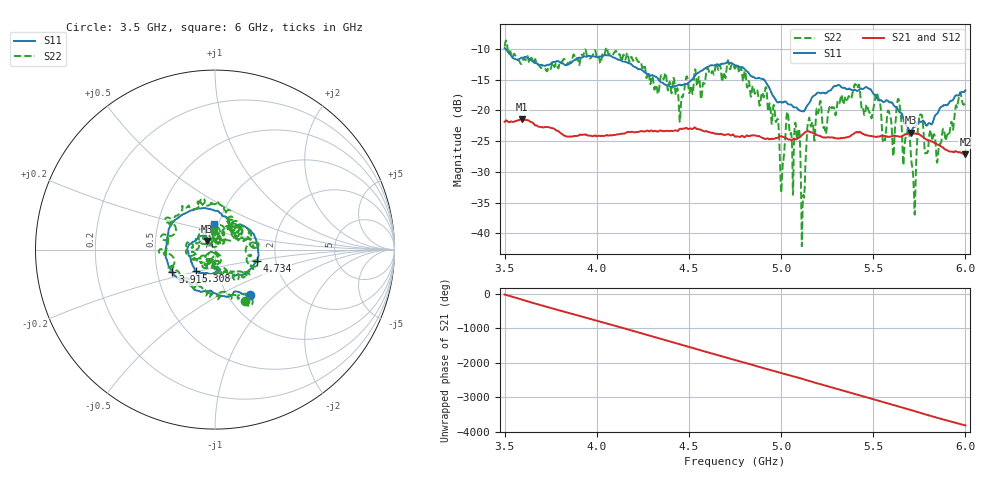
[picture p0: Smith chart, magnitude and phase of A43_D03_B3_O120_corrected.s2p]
! Created with skrf 1.9.0 (http://scikit-rf.org).
# Hz S RI R 50.0
!freq ReS11 ImS11 ReS21 ImS21 ReS12 ImS12 ReS22 ImS22
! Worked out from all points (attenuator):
!   1601 points, 3.5 GHz to 6 GHz, reference 50 ohm
!   highest |S21| = -21.48 dB at 3.592 GHz (marker M1); lowest = -27.1 dB at 6 GHz (marker M2)
!   lowest |S11| = -23.6 dB at 5.703 GHz (marker M3), VSWR 1.14, Z = 45.5 + j4.42 ohm
!   |S11| at or under -10 dB: 3.505 GHz to end of sweep
!   |S22| runs from -42.1 to -8.6 dB; largest |S21 - S12| = 0.00097
!   S11 on the Smith chart (normalised r, x): 3.5 GHz: 1.27, -0.71; 3.916 GHz: 0.60, -0.16; 4.734 GHz: 1.59, -0.22; 5.308 GHz: 0.79, -0.20; 6 GHz: 0.95, +0.28
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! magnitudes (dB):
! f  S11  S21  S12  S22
! 3.5 GHz  -9.9  -21.9  -21.8  -9.6
! 3.592 GHz  -11.4  -21.5  -21.5  -12.4
! 3.916 GHz  -11.5  -24.0  -24.0  -11.1
! 3.917 GHz  -11.4  -24.0  -24.0  -10.9
! 4.334 GHz  -15.0  -23.4  -23.4  -17.2
! 4.734 GHz  -12.3  -24.0  -24.0  -12.5
! 4.75 GHz  -12.7  -24.3  -24.2  -13.2
! 4.969 GHz  -18.2  -24.5  -24.5  -21.4
! 5.005 GHz  -18.6  -24.2  -24.2  -30.9
! 5.033 GHz  -18.8  -24.7  -24.6  -20.3
! 5.088 GHz  -19.7  -24.6  -24.6  -24.6
! 5.119 GHz  -20.1  -23.9  -23.8  -34.5
! 5.145 GHz  -19.1  -23.4  -23.4  -22.1
! 5.167 GHz  -17.9  -23.6  -23.6  -22.1
! 5.308 GHz  -15.9  -24.6  -24.5  -18.5
! 5.584 GHz  -18.6  -24.3  -24.3  -20.1
! 5.638 GHz  -20.1  -24.2  -24.2  -18.2
! 5.703 GHz  -23.6  -23.8  -23.8  -26.7
! 5.72 GHz  -22.7  -23.8  -23.8  -32.9
! 5.756 GHz  -21.9  -24.0  -24.0  -20.8
! 5.852 GHz  -20.3  -25.6  -25.5  -27.2
! 6 GHz  -16.8  -27.1  -27.1  -19.6
